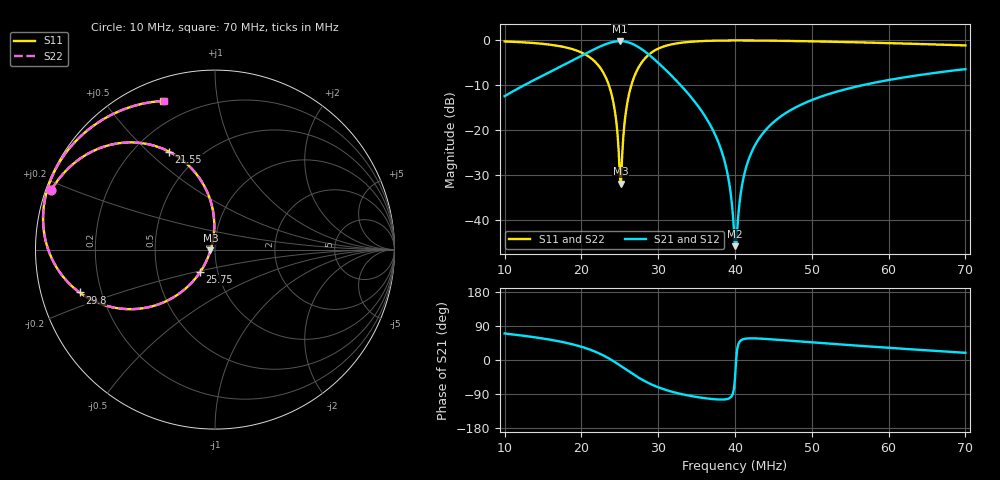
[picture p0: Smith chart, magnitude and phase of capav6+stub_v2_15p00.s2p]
! Touchstone file exported from HFSS 2025.2.0
!  File:  C:/Users/32474/OneDrive - UCL/Documents/Ingenieur/MASTER1/Stage/HFSS/capav6+stub.aedt
!  Generated:  07:36:30 PM Jul 17, 2026
!  Design:  HFSSDesign1
!  Project:  capav6+stub
!  Setup:  Setup4
!  Solution:  Sweep
# GHz S MA R 50.000000
! Terminal data exported
! Port[1] = capa_15p00_v2_1_1
! Port[2] = capa_15p00_v2_1_2
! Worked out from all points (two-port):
!   401 points, 10 MHz to 70 MHz, reference 50 ohm
!   highest |S21| = -0.20 dB at 25 MHz (marker M1); lowest = -45.7 dB at 40 MHz (marker M2)
!   |S21| within 3 dB of the highest: 20.28 MHz to 28.79 MHz (8.513 MHz wide, 34.7 % of centre)
!   lowest |S11| = -31.8 dB at 25.15 MHz (marker M3), VSWR 1.05, Z = 47.5 - j0.472 ohm
!   |S11| at or under -10 dB: 23.58 MHz to 26.5 MHz (2.921 MHz wide, 11.7 % of centre)
!   |S22| runs from -31.9 to 0.0 dB; largest |S21 - S12| = 2.7e-15
!   S11 on the Smith chart (normalised r, x): 10 MHz: 0.02, +0.18; 21.55 MHz: 0.34, +0.58; 25.75 MHz: 0.82, -0.21; 29.8 MHz: 0.12, -0.15; 70 MHz: 0.10, +0.71
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0.01  0.9705 160.1  0.2396 70.0  0.2396 70.0  0.9705 160.1
! Gamma 4.29697051666312E-05 0.209627589892663 4.3677466973427E-05 0.209628337336156
! Port Impedance 50 0 50 0
0.0157  0.898 144.6  0.4361 54.4  0.4361 54.4  0.898 144.6
0.02005  0.7287 125.3  0.6762 34.6  0.6762 34.6  0.7287 125.3
0.02155  0.6028 115.1  0.7862 24.0  0.7862 24.0  0.6028 115.1
0.0238  0.2756 95.4  0.943 1.5  0.943 1.5  0.2756 95.3
0.0244  0.1554 91.6  0.9677 -5.9  0.9677 -5.9  0.1554 91.6
0.025  0.03161 121.1  0.9774 -13.9  0.9774 -13.9  0.0315 120.9
0.02515  0.02561 -168.8  0.9772 -15.9  0.9772 -15.9  0.02547 -168.7
0.02575  0.151 -123.5  0.9644 -24.2  0.9644 -24.2  0.151 -123.5
0.0271  0.4372 -135.8  0.8727 -42.3  0.8727 -42.3  0.4372 -135.8
0.0298  0.7916 -162.4  0.5827 -70.3  0.5827 -70.3  0.7916 -162.4
0.0301  0.8142 -164.7  0.5521 -72.7  0.5521 -72.7  0.8142 -164.8
0.03295  0.938 178.4  0.3152 -89.6  0.3152 -89.6  0.938 178.4
0.03745  0.99 162.4  0.08818 -103.7  0.08818 -103.7  0.99 162.4
0.03895  0.9941 158.4  0.03541 -103.2  0.03541 -103.2  0.9941 158.4
0.04  0.9952 155.9  0.005189 -48.7  0.005189 -48.7  0.9952 155.9
0.0403  0.9953 155.2  0.008127 30.7  0.008127 30.7  0.9953 155.2
0.0412  0.9951 153.2  0.0323 55.6  0.0323 55.6  0.9951 153.2
0.0427  0.9936 150.1  0.07072 57.0  0.07072 57.0  0.9936 150.1
0.05005  0.9734 137.1  0.2179 46.5  0.2179 46.5  0.9734 137.1
0.0601  0.9298 122.4  0.3634 32.1  0.3634 32.1  0.9298 122.3
0.07  0.8766 109.1  0.4785 19.0  0.4785 19.0  0.8766 109.1
